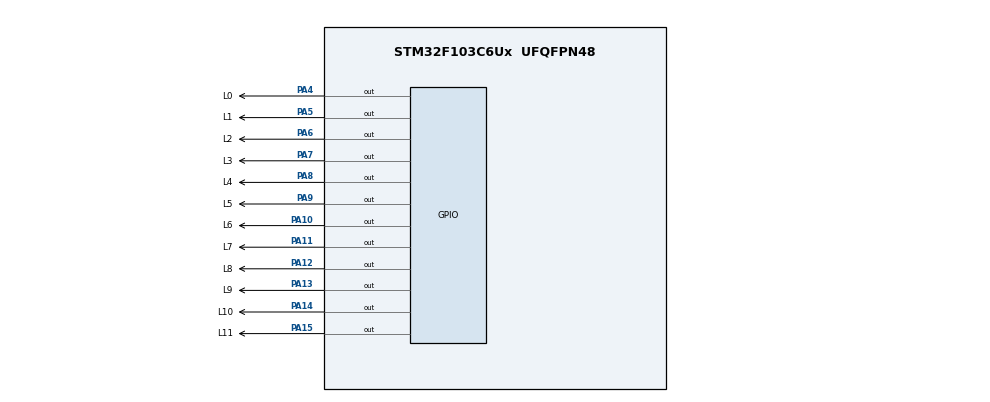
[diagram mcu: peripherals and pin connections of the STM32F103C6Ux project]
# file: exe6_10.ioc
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Mcu.Family=STM32F1
Mcu.Name=STM32F103C6Ux
Mcu.Package=UFQFPN48
NVIC.PriorityGroup=NVIC_PRIORITYGROUP_4
PA10.GPIO_Label=L6
PA10.Signal=GPIO_Output
PA11.GPIO_Label=L7
PA11.Signal=GPIO_Output
PA12.GPIO_Label=L8
PA12.Signal=GPIO_Output
PA13.GPIO_Label=L9
PA13.Signal=GPIO_Output
PA14.GPIO_Label=L10
PA14.Signal=GPIO_Output
PA15.GPIO_Label=L11
PA15.Signal=GPIO_Output
PA4.GPIO_Label=L0
PA4.Signal=GPIO_Output
PA5.GPIO_Label=L1
PA5.Signal=GPIO_Output
PA6.GPIO_Label=L2
PA6.Signal=GPIO_Output
PA7.GPIO_Label=L3
PA7.Signal=GPIO_Output
PA8.GPIO_Label=L4
PA8.Signal=GPIO_Output
PA9.GPIO_Label=L5
PA9.Signal=GPIO_Output
ProjectManager.HeapSize=0x200
ProjectManager.StackSize=0x400
ProjectManager.TargetToolchain=STM32CubeIDE
RCC.APB1Freq_Value=8000000
RCC.APB2Freq_Value=8000000
VP_SYS_VS_ND.Mode=No_Debug
board=custom

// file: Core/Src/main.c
/* USER CODE BEGIN Header */
/**
  ******************************************************************************
  * @file           : main.c
  * @brief          : Main program body
  ******************************************************************************
  * @attention
  *
  * <h2><center>&copy; Copyright (c) 2024 STMicroelectronics.
  * All rights reserved.</center></h2>
  *
  * This software component is licensed by ST under BSD 3-Clause license,
  * the "License"; You may not use this file except in compliance with the
  * License. You may obtain a copy of the License at:
  *                        opensource.org/licenses/BSD-3-Clause
  *
  ******************************************************************************
  */
/* USER CODE END Header */
#include "main.h"

void SystemClock_Config(void);
static void MX_GPIO_Init(void);
/* USER CODE BEGIN PFP */
//void clearAllClock();
//void setNumberOnClock(int num);
//void clearNumberOnClock(int num);
//void displayTime(int hour, int minutes, int seconds);
void timer_isr();
/* USER CODE END PFP */

int main(void)
{

  /* MCU Configuration--------------------------------------------------------*/

  /* Reset of all peripherals, Initializes the Flash interface and the Systick. */
  HAL_Init();

  /* Configure the system clock */
  SystemClock_Config();

  /* Initialize all configured peripherals */
  MX_GPIO_Init();

  /* Infinite loop */
  /* USER CODE BEGIN WHILE */
  int hour = 2;
  int minutes = 5;
  int seconds = 18;
  while (1)
  {
	  HAL_GPIO_WritePin(GPIOA, L0_Pin|L1_Pin|L2_Pin|L3_Pin
              |L4_Pin|L5_Pin|L6_Pin|L7_Pin
              |L8_Pin|L9_Pin|L10_Pin|L11_Pin, GPIO_PIN_RESET);

	  if (seconds == 60)
	  {
		  seconds = 0;
		  minutes++;
	  }

	  if (minutes == 60)
	  {
		  minutes = 0;
		  hour++;
	  }

	  if (hour == 24)
	  {
		  hour = 0;
	  }

	  displayTime(hour, minutes, seconds);

	  seconds++;
	  HAL_Delay(10);
    /* USER CODE END WHILE */

  }
}

void SystemClock_Config(void)
{
  RCC_OscInitTypeDef RCC_OscInitStruct = {0};
  RCC_ClkInitTypeDef RCC_ClkInitStruct = {0};

  /** Initializes the RCC Oscillators according to the specified parameters
  * in the RCC_OscInitTypeDef structure.
  */
  RCC_OscInitStruct.OscillatorType = RCC_OSCILLATORTYPE_HSI;
  RCC_OscInitStruct.HSIState = RCC_HSI_ON;
  RCC_OscInitStruct.HSICalibrationValue = RCC_HSICALIBRATION_DEFAULT;
  RCC_OscInitStruct.PLL.PLLState = RCC_PLL_NONE;
  if (HAL_RCC_OscConfig(&RCC_OscInitStruct) != HAL_OK)
  {
    Error_Handler();
  }
  /** Initializes the CPU, AHB and APB buses clocks
  */
  RCC_ClkInitStruct.ClockType = RCC_CLOCKTYPE_HCLK|RCC_CLOCKTYPE_SYSCLK
                              |RCC_CLOCKTYPE_PCLK1|RCC_CLOCKTYPE_PCLK2;
  RCC_ClkInitStruct.SYSCLKSource = RCC_SYSCLKSOURCE_HSI;
  RCC_ClkInitStruct.AHBCLKDivider = RCC_SYSCLK_DIV1;
  RCC_ClkInitStruct.APB1CLKDivider = RCC_HCLK_DIV1;
  RCC_ClkInitStruct.APB2CLKDivider = RCC_HCLK_DIV1;

  if (HAL_RCC_ClockConfig(&RCC_ClkInitStruct, FLASH_LATENCY_0) != HAL_OK)
  {
    Error_Handler();
  }
}

static void MX_GPIO_Init(void)
{
  GPIO_InitTypeDef GPIO_InitStruct = {0};

  /* GPIO Ports Clock Enable */
  __HAL_RCC_GPIOA_CLK_ENABLE();

  /*Configure GPIO pin Output Level */
  HAL_GPIO_WritePin(GPIOA, L0_Pin|L1_Pin|L2_Pin|L3_Pin
                          |L4_Pin|L5_Pin|L6_Pin|L7_Pin
                          |L8_Pin|L9_Pin|L10_Pin|L11_Pin, GPIO_PIN_RESET);

  /*Configure GPIO pins : L0_Pin L1_Pin L2_Pin L3_Pin
                           L4_Pin L5_Pin L6_Pin L7_Pin
                           L8_Pin L9_Pin L10_Pin L11_Pin */
  GPIO_InitStruct.Pin = L0_Pin|L1_Pin|L2_Pin|L3_Pin
                          |L4_Pin|L5_Pin|L6_Pin|L7_Pin
                          |L8_Pin|L9_Pin|L10_Pin|L11_Pin;
  GPIO_InitStruct.Mode = GPIO_MODE_OUTPUT_PP;
  GPIO_InitStruct.Pull = GPIO_NOPULL;
  GPIO_InitStruct.Speed = GPIO_SPEED_FREQ_LOW;
  HAL_GPIO_Init(GPIOA, &GPIO_InitStruct);

}

/* USER CODE BEGIN 4 */
void clearAllClock()
{
	HAL_GPIO_WritePin(GPIOA, L0_Pin|L1_Pin|L2_Pin|L3_Pin
	              |L4_Pin|L5_Pin|L6_Pin|L7_Pin
	              |L8_Pin|L9_Pin|L10_Pin|L11_Pin, GPIO_PIN_SET);
}

void setNumberOnClock(int num)
{
    switch (num) {
        case 0:
            HAL_GPIO_WritePin(GPIOA, L0_Pin, GPIO_PIN_RESET);
            break;
        case 1:
            HAL_GPIO_WritePin(GPIOA, L1_Pin, GPIO_PIN_RESET);
            break;
        case 2:
            HAL_GPIO_WritePin(GPIOA, L2_Pin, GPIO_PIN_RESET);
            break;
        case 3:
            HAL_GPIO_WritePin(GPIOA, L3_Pin, GPIO_PIN_RESET);
            break;
        case 4:
            HAL_GPIO_WritePin(GPIOA, L4_Pin, GPIO_PIN_RESET);
            break;
        case 5:
            HAL_GPIO_WritePin(GPIOA, L5_Pin, GPIO_PIN_RESET);
            break;
        case 6:
            HAL_GPIO_WritePin(GPIOA, L6_Pin, GPIO_PIN_RESET);
            break;
        case 7:
            HAL_GPIO_WritePin(GPIOA, L7_Pin, GPIO_PIN_RESET);
            break;
        case 8:
            HAL_GPIO_WritePin(GPIOA, L8_Pin, GPIO_PIN_RESET);
            break;
        case 9:
            HAL_GPIO_WritePin(GPIOA, L9_Pin, GPIO_PIN_RESET);
            break;
        case 10:
            HAL_GPIO_WritePin(GPIOA, L10_Pin, GPIO_PIN_RESET);
            break;
        case 11:
            HAL_GPIO_WritePin(GPIOA, L11_Pin, GPIO_PIN_RESET);
            break;
        default:
            break;
    }
}

void clearNumberOnClock(int num)
{
    switch (num) {
        case 0:
            HAL_GPIO_WritePin(GPIOA, L0_Pin, GPIO_PIN_SET);
            break;
        case 1:
            HAL_GPIO_WritePin(GPIOA, L1_Pin, GPIO_PIN_SET);
            break;
        case 2:
            HAL_GPIO_WritePin(GPIOA, L2_Pin, GPIO_PIN_SET);
            break;
        case 3:
            HAL_GPIO_WritePin(GPIOA, L3_Pin, GPIO_PIN_SET);
            break;
        case 4:
            HAL_GPIO_WritePin(GPIOA, L4_Pin, GPIO_PIN_SET);
            break;
        case 5:
            HAL_GPIO_WritePin(GPIOA, L5_Pin, GPIO_PIN_SET);
            break;
        case 6:
            HAL_GPIO_WritePin(GPIOA, L6_Pin, GPIO_PIN_SET);
            break;
        case 7:
            HAL_GPIO_WritePin(GPIOA, L7_Pin, GPIO_PIN_SET);
            break;
        case 8:
            HAL_GPIO_WritePin(GPIOA, L8_Pin, GPIO_PIN_SET);
            break;
        case 9:
            HAL_GPIO_WritePin(GPIOA, L9_Pin, GPIO_PIN_SET);
            break;
        case 10:
            HAL_GPIO_WritePin(GPIOA, L10_Pin, GPIO_PIN_SET);
            break;
        case 11:
            HAL_GPIO_WritePin(GPIOA, L11_Pin, GPIO_PIN_SET);
            break;
        default:
            break;
    }
}

void displayTime(int hour, int minutes, int seconds)
{
	clearAllClock();
	int temp_hour = hour - 1;
	if (temp_hour >= 12)
	{
		temp_hour -= 12;
	}

	if (minutes == 0 || seconds == 0) clearNumberOnClock(temp_hour - 1);

	setNumberOnClock(temp_hour);

	if (minutes % 12 == 0)
	{
		clearNumberOnClock((minutes - 1)%12);
	}
	setNumberOnClock(minutes%12);

	if (seconds % 12 == 0)
	{
		clearNumberOnClock((seconds - 1)%12);
	}
	setNumberOnClock(seconds%12);
}

int num = 0;

//void timer_isr()
//{
//	if (num % 100 == 0)
//	{
//		HAL_GPIO_WritePin(GPIOA, L1_Pin, RESET);
//	}
//	if (num % 200 == 0)
//	{
//		HAL_GPIO_WritePin(GPIOA, L1_Pin, SET);
//	}
//	num++;
//}

/* USER CODE END 4 */

void Error_Handler(void)
{
  __disable_irq();
  while (1)
  {
  }
}

/************************ (C) COPYRIGHT STMicroelectronics *****END OF FILE****/
